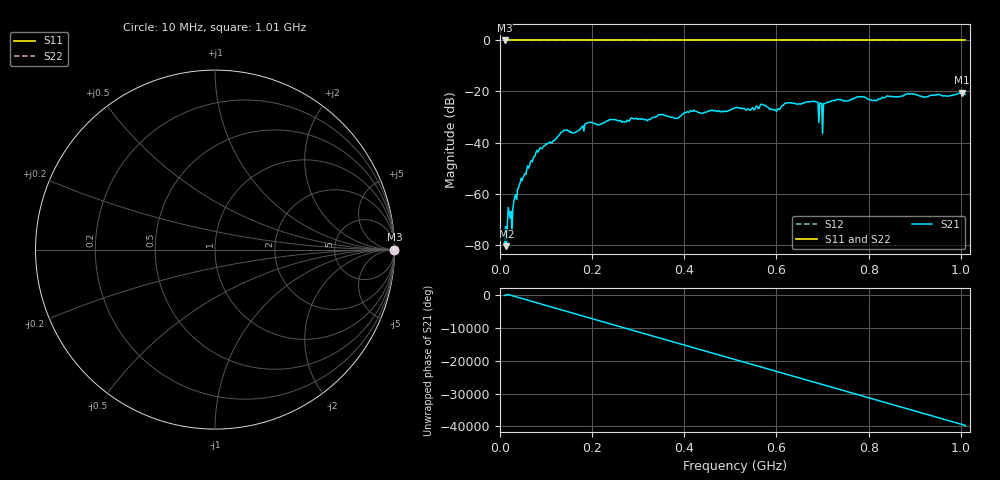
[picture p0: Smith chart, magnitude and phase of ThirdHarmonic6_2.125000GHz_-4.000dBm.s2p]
! 8/17/2025 1:23:49 AM
! C:\ANRITSUVNA\TEMP\TEMP.S2P
! CHANNEL.1
! TR.MEASUREMENT
! RAW.DATA
! RF.CORRECTION.OFF
! AVERAGING.OFF
! IF.BANDWIDTH: 5KHZ
! SWEEPTYPE:  FREQ.SWEEP(Linear)
! Reference Plane Port Info
! PORT:  PORT1  PORT2
! DISTANCE:  0  m  0  m
! TIME:  0  s  0  s
! PHASE.OFFSET:  0  deg.  0  deg.
! LOSS:  0  dB  0  dB
! REF.LOSS:  0  dB  0  dB
! REF.FREQ:  0  Hz  0  Hz
! Power Info
! POWER:  -20  dBm  -20  dBm
! EFF.POWER:  -20  dBm  -20  dBm
! SOURCE.ATTEN:  0  dB  0  dB
! TEST.ATTEN:  0  dB  0  dB
# GHZ S RI R 50.0
! FREQ.GHZ  S11RE  S11IM  S21RE  S21IM  S12RE  S12IM  S22RE  S22IM
!; PortSelection: Port_12
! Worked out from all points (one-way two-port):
!   501 points, 10 MHz to 1.01 GHz, reference 50 ohm
!   highest |S21| = -20.46 dB at 1.002 GHz (marker M1); lowest = -80.6 dB at 14 MHz (marker M2)
!   lowest |S11| = 0.0 dB at 10 MHz (marker M3)
!   |S11| at or under -10 dB: nowhere
!   |S22| runs from 0.0 to 0.0 dB; largest |S21 - S12| = 1.1
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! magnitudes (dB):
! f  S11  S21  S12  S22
! 10 MHz  0.0  -80.4  0.0  0.0
! 14 MHz  0.0  -80.6  0.0  0.0
! 20 MHz  0.0  -67.6  0.0  0.0
! 26 MHz  0.0  -75.2  0.0  0.0
! 42 MHz  0.0  -56.6  0.0  0.0
! 82 MHz  0.0  -43.8  0.0  0.0
! 136 MHz  0.0  -35.7  0.0  0.0
! 178 MHz  0.0  -33.8  0.0  0.0
! 344 MHz  0.0  -29.1  0.0  0.0
! 382 MHz  0.0  -30.5  0.0  0.0
! 416 MHz  0.0  -27.8  0.0  0.0
! 510 MHz  0.0  -26.4  0.0  0.0
! 570 MHz  0.0  -25.1  0.0  0.0
! 598 MHz  0.0  -27.4  0.0  0.0
! 678 MHz  0.0  -23.9  0.0  0.0
! 694 MHz  0.0  -24.4  0.0  0.0
! 696 MHz  0.0  -24.6  0.0  0.0
! 706 MHz  0.0  -24.6  0.0  0.0
! 726 MHz  0.0  -23.6  0.0  0.0
! 844 MHz  0.0  -21.9  0.0  0.0
! 1.002 GHz  0.0  -20.5  0.0  0.0
! 1.01 GHz  0.0  -21.1  0.0  0.0
